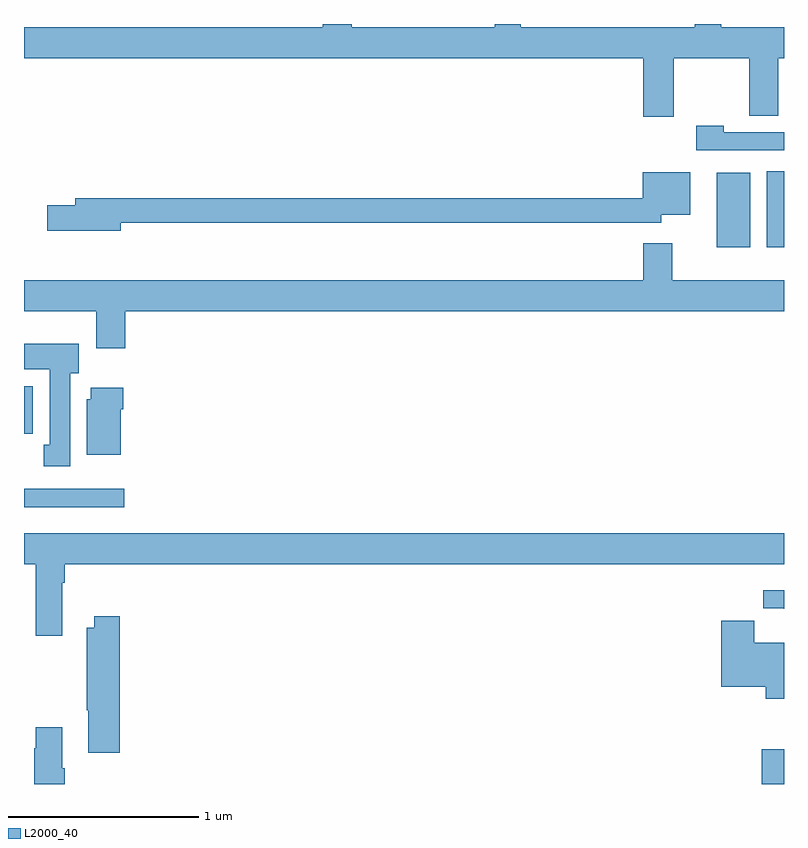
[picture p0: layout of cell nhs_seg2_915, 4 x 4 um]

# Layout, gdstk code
import gdstk
lib = gdstk.Library(unit=1e-6, precision=1e-09)
def R(c, l, rs):  # rectangles x0, y0, x1, y1
    for r in rs: c.add(gdstk.rectangle(r[:2], r[2:], *l))
def P(c, l, *ps):  # polygons
    for p in ps: c.add(gdstk.Polygon(p, *l))
L2000_40 = (2000, 40)

nhs_seg2_915 = lib.new_cell('nhs_seg2_915')
R(nhs_seg2_915, L2000_40, [(160.883,659.8,161,659.983), (157,661.256,157.528,661.353), (157,661.644,157.047,661.894), (160.646,662.624,160.822,663.016), (160.91,662.624,161,663.025)])
P(nhs_seg2_915, L2000_40, [(160.419,663.62),(160.816,663.62),(160.816,663.316),(160.97,663.316),(160.97,663.62),(161,663.62),(161,663.784),(160.669,663.784),(160.669,663.8),(160.529,663.8),(160.529,663.784),(159.615,663.784),(159.615,663.8),(159.477,663.8),(159.477,663.784),(158.725,663.784),(158.725,663.8),(158.573,663.8),(158.573,663.784),(157,663.784),(157,663.62),(160.259,663.62),(160.259,663.312),(160.419,663.312)],
  [(161,663.231),(160.683,663.231),(160.683,663.264),(160.539,663.264),(160.539,663.135),(161,663.135)],
  [(157.51,662.754),(160.354,662.754),(160.354,662.795),(160.507,662.795),(160.507,663.019),(160.256,663.019),(160.256,662.882),(157.271,662.882),(157.271,662.846),(157.122,662.846),(157.122,662.711),(157.51,662.711)],
  [(157.532,662.288),(161,662.288),(161,662.452),(160.411,662.452),(160.411,662.647),(160.259,662.647),(160.259,662.452),(157,662.452),(157,662.288),(157.379,662.288),(157.379,662.094),(157.532,662.094)],
  [(157.243,661.962),(157.288,661.962),(157.288,662.116),(157,662.116),(157,661.982),(157.136,661.982),(157.136,661.585),(157.103,661.585),(157.103,661.473),(157.243,661.473)],
  [(157.51,661.772),(157.523,661.772),(157.523,661.885),(157.352,661.885),(157.352,661.824),(157.331,661.824),(157.331,661.532),(157.51,661.532)],
  [(157.201,660.86),(157.214,660.86),(157.214,660.956),(161,660.956),(161,661.12),(157,661.12),(157,660.956),(157.061,660.956),(157.061,660.579),(157.201,660.579)],
  [(161,660.82),(160.89,660.82),(160.89,660.725),(160.999,660.725),(160.999,660.723),(161,660.723)],
  [(157.505,660.682),(157.37,660.682),(157.37,660.622),(157.33,660.622),(157.33,660.187),(157.337,660.187),(157.337,659.964),(157.505,659.964)],
  [(161,660.544),(160.843,660.544),(160.843,660.66),(160.67,660.66),(160.67,660.311),(160.904,660.311),(160.904,660.248),(161,660.248)],
  [(157.214,659.884),(157.201,659.884),(157.201,660.1),(157.061,660.1),(157.061,659.987),(157.054,659.987),(157.054,659.8),(157.214,659.8)])

lib.write_gds('nhs_seg2_915.gds')
